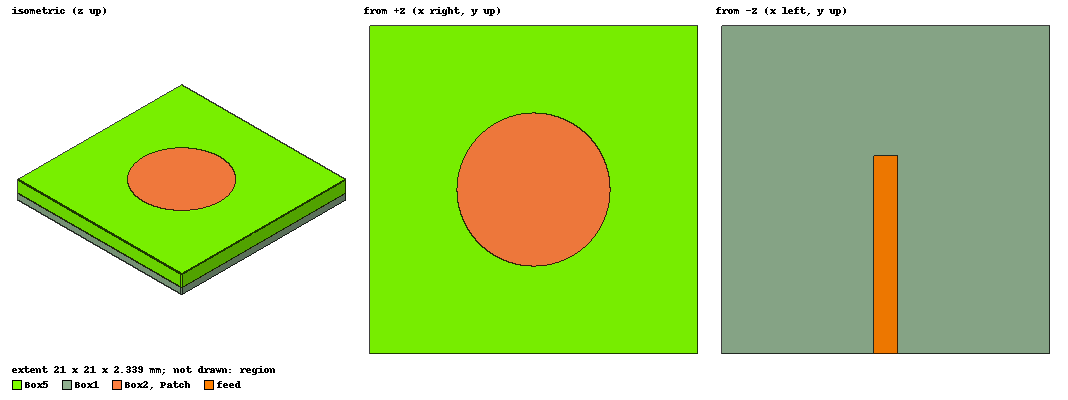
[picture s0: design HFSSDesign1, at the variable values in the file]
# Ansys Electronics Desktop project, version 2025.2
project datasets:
  $Dielectric_constant_with_frequency_1741: (100000000, 3.25127) (1000000000, 3.184) (2000000000, 3.165) (3000000000, 3.15426) (4000000000, 3.14514) (5000000000, 3.13952) (6000000000, 3.13556) (7000000000, 3.13249) (8000000000, 3.12994) (9000000000, 3.12774) (10000000000, 3.1258) (11000000000, 3.12404) (12000000000, 3.12245) (13000000000, 3.12098) (14000000000, 3.11962) (15000000000, 3.11835) (16000000000, 3.11717) (17000000000, 3.11606) (18000000000, 3.11501) (19000000000, 3.11402) (20000000000, 3.11308) (21000000000, 3.11218) (22000000000, 3.11133) (23000000000, 3.11052) (24000000000, 3.10974) (25000000000, 3.10899) (26000000000, 3.10827) (27000000000, 3.10758) (28000000000, 3.10691) (29000000000, 3.10627) (30000000000, 3.10564) (31000000000, 3.10504) (32000000000, 3.10446) (33000000000, 3.1039) (34000000000, 3.10335) (35000000000, 3.10282) (36000000000, 3.1023) (37000000000, 3.1018) (38000000000, 3.10131) (39000000000, 3.10083) (40000000000, 3.10037) (41000000000, 3.09992) (42000000000, 3.09948) (43000000000, 3.09904) (44000000000, 3.09862) (45000000000, 3.09821) (46000000000, 3.09781) (47000000000, 3.09741) (48000000000, 3.09703) (49000000000, 3.09665) (50000000000, 3.09628) (51000000000, 3.09592) (52000000000, 3.09556) (53000000000, 3.09521) (54000000000, 3.09487) (55000000000, 3.09453) (56000000000, 3.0942) (57000000000, 3.09388) (58000000000, 3.09356) (59000000000, 3.09325) (60000000000, 3.09294) (61000000000, 3.09263) (62000000000, 3.09234) (63000000000, 3.09204) (64000000000, 3.09175) (65000000000, 3.09147) (66000000000, 3.09119) (67000000000, 3.09091) (68000000000, 3.09064) (69000000000, 3.09037) (70000000000, 3.09011) (71000000000, 3.08985) (72000000000, 3.08959) (73000000000, 3.08934) (74000000000, 3.08909) (75000000000, 3.08885) (76000000000, 3.0886) (77000000000, 3.08836) (78000000000, 3.08813) (79000000000, 3.08789) (80000000000, 3.08766) (81000000000, 3.08744) (82000000000, 3.08721) (83000000000, 3.08699) (84000000000, 3.08677) (85000000000, 3.08655) (86000000000, 3.08634) (87000000000, 3.08613) (88000000000, 3.08592) (89000000000, 3.08571) (90000000000, 3.0855) (91000000000, 3.0853) (92000000000, 3.0851) (93000000000, 3.0849) (94000000000, 3.08471) (95000000000, 3.08451) (96000000000, 3.08432) (97000000000, 3.08413) (98000000000, 3.08394) (99000000000, 3.08376) (100000000000, 3.08357) (101000000000, 3.08339) (102000000000, 3.08321) (103000000000, 3.08303) (104000000000, 3.08285) (105000000000, 3.08268) (106000000000, 3.0825) (107000000000, 3.08233) (108000000000, 3.08216) (109000000000, 3.08199) (110000000000, 3.08182)
  $Dielectric_loss_tangent_with_frequency_1741: (5000000000, 0.0008) (10000000000, 0.001) (20000000000, 0.0013) (30000000000, 0.0015) (40000000000, 0.0016) (50000000000, 0.0017) (60000000000, 0.0017) (70000000000, 0.0018) (80000000000, 0.0018)
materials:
  vacuum: permittivity=1
  rhodium: conductivity=22200000
  copper: permeability=0.999991 conductivity=58000000
  Rogers RO4350 (tm): permittivity=3.66 dielectric_loss_tangent=0.004
  Rogers - RO3003 ED, Core, 10mil: permittivity=pwl($Dielectric_constant_with_frequency_1741,Freq) dielectric_loss_tangent=pwl($Dielectric_loss_tangent_with_frequency_1741,Freq)
  air: permittivity=1.0006 permeability=1.0000004
  Rogers RO3003 (tm): permittivity=3 dielectric_loss_tangent=0.0013

design HFSSDesign1 (HFSS, HFSS Terminal Network, model units mm)
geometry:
  Box1 [Rogers RO4350 (tm)] = box(corner=(-10.5mm, 10.5mm, 0mm), size=(21mm, -21mm, 0.762mm))
  Box2 [copper] = box(corner=(-10.5mm, 10.5mm, 0.762mm), size=(21mm, -21mm, 0.0175mm))
  Box3 = box(corner=((-6.5/2) mm, -0.5mm, 0.762mm), size=(6.5mm, 1mm, 0.0175mm))
  Box4 = box(corner=(-0.5mm, (-4.9/2) mm, 0.762mm), size=(1mm, 4.9mm, 0.0175mm))
  Box3.unite(Box4)
  Box3.rotate(axis=Z, angle=45deg)
  Box2.subtract(Box3)
  Box5 [Rogers - RO3003 ED, Core, 10mil] = box(corner=(-10.5mm, 10.5mm, 0.762mm), size=(21mm, -21mm, 1.524mm))
  Patch [copper] = cylinder(axis=Z, base_centre=(0mm, 0mm, (0.762+1.524+0.0175) mm), radius=4.9mm, height=0.0175mm)
  feed [copper] = box(corner=((-1.54074/2) mm, -10.5mm, 0mm), size=(1.54074mm, 12.65mm, -0.0175mm))
  region [air] = box(corner=(-18mm, 16mm, -16mm), size=(36mm, -34mm, 34mm))
  Rectangle1 = rectangle(corner=(-0.77037mm, -10.5mm, -0.0175mm), z_size=0.7975mm, x_size=1.54074mm)
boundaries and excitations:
  PerfE1: Perfect E Objects=[Rectangle1, Patch, feed, Box2]
  Rad1: Radiation Objects=region
  feed_T1: Terminal port=1 Edges=feed.edge(at (-0.77037, -10.5, -0.00875), at (0, -10.5, -0.0175), at (0.77037, -10.5, -0.00875), at (0, -10.5, 0)) TerminalResistance=50ohm
  1: Lumped Port Faces=Rectangle1.face LumpedPortType=Terminal Impedance=50ohm
  reference conductors: Box2
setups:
  Setup1: HfssDriven Frequency=8.2GHz MaxDeltaS=0.02 MaximumPasses=20 MinimumPasses=1 MinimumConvergedPasses=1 PercentRefinement=30 BasisOrder=1 PortAccuracy=2 DrivenSolverType="Direct Solver"
    sweep Sweep: 4.1GHz to 12.3GHz, 300 points; Type=Fast SaveFields
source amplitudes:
  1:1: 1V 0deg
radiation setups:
  Infinite Sphere1: Infinite Sphere Theta=0deg..180deg step 2deg Phi=0deg..360deg step 2deg
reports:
  Terminal S Parameter Plot1: dB(St(feed_T1,feed_T1)) vs Freq on Setup1 : Sweep; markers m1 at 7.8515GHz, m2 at 8.364GHz, m3 at 8.1385GHz
  Terminal VSWR Plot1: VSWRt(feed_T1) vs Freq on Setup1 : Sweep; markers m1 at 8.364GHz, m2 at 8.2205GHz
  Gain Plot4: dB(GainTotal) vs Freq on Setup1 : Sweep, Infinite Sphere1 [Phi=0deg Theta=0deg]; markers m1 at 8.2615GHz, m2 at 8.487GHz, m3 at 8.5485GHz
  Gain Plot5: dB(GainTotal) vs Phi, Theta on Setup1 : LastAdaptive, Infinite Sphere1 [Freq=8.2GHz]
  Axial Ratio Plot6: dB(AxialRatioValue) vs Freq on Setup1 : Sweep, Infinite Sphere1 [Phi=0deg Theta=0deg]; markers m1 at 8.3435GHz
